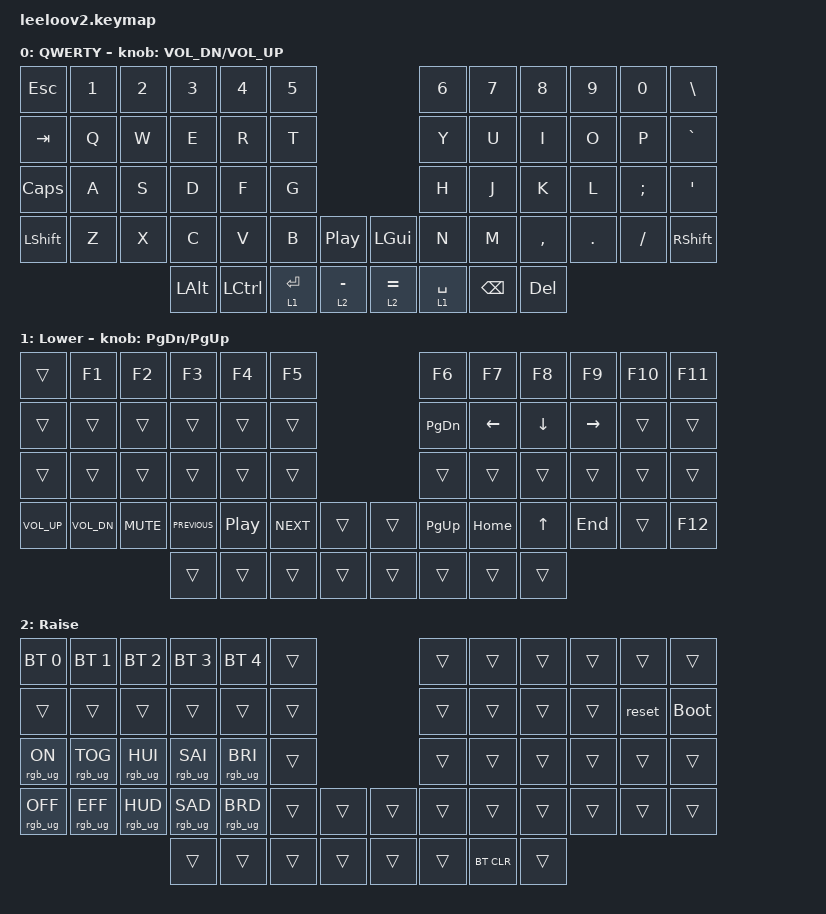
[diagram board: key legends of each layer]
/*
 * Copyright (c) 2022 The ZMK Contributors
 * SPDX-License-Identifier: MIT
 */

#include <behaviors.dtsi>
#include <dt-bindings/zmk/outputs.h>
#include <dt-bindings/zmk/keys.h>
#include <dt-bindings/zmk/bt.h>
#include <dt-bindings/zmk/rgb.h>

// Layers
#define DEFAULT    0       // default_layer
#define LOWER      1       // lower_layer
#define RAISE      2       // raise_layer

// Short versions
#define RGBON   &rgb_ug RGB_ON
#define RGBOFF  &rgb_ug RGB_OFF
#define RGBTOG  &rgb_ug RGB_TOG
#define RGBHUI  &rgb_ug RGB_HUI
#define RGBHUD  &rgb_ug RGB_HUD
#define RGBSAI  &rgb_ug RGB_SAI
#define RGBSAD  &rgb_ug RGB_SAD
#define RGBBRI  &rgb_ug RGB_BRI
#define RGBBRD  &rgb_ug RGB_BRD
#define RGBEFF  &rgb_ug RGB_EFF
#define VOLUP   &kp C_VOLUME_UP
#define VOLDN   &kp C_VOL_DN
#define MUTE    &kp C_MUTE
#define PP      &kp C_PLAY_PAUSE
#define NEXT    &kp C_NEXT
#define PREV    &kp C_PREVIOUS


/* 
 * Assign the cs-gpios pin to 4.
 * Uncomment these next three lines if implementing nice!view Displays
 */
&nice_view_spi {
   cs-gpios = <&pro_micro 4 GPIO_ACTIVE_HIGH>;
};


/ {

    keymap {
        compatible = "zmk,keymap";

        default_layer {
            label = " QWERTY";
            bindings = <
&kp ESC    &kp N1     &kp N2     &kp N3     &kp N4     &kp N5                           &kp N6     &kp N7     &kp N8     &kp N9     &kp N0     &kp BSLH
&kp TAB    &kp Q      &kp W      &kp E      &kp R      &kp T                            &kp Y      &kp U      &kp I      &kp O      &kp P      &kp GRAV
&kp CAPS   &kp A      &kp S      &kp D      &kp F      &kp G                            &kp H      &kp J      &kp K      &kp L      &kp SEMI   &kp SQT
&kp LSHFT  &kp Z      &kp X      &kp C      &kp V      &kp B     PP          &kp LGUI   &kp N      &kp M      &kp COMMA  &kp DOT    &kp FSLH   &kp RSHFT
                             &kp LALT   &kp LCTRL  &lt 1 RET  &lt 2 MINUS    &lt 2 EQUAL  &lt 1 SPACE  &kp BSPC   &kp DEL
            >;

             sensor-bindings = <&inc_dec_kp C_VOL_DN C_VOL_UP>;
        };

        lower_layer {
            label = " Lower";
            bindings = <
&trans     &kp F1     &kp F2     &kp F3     &kp F4     &kp F5                           &kp F6     &kp F7     &kp F8     &kp F9     &kp F10    &kp F11
&trans     &trans     &trans     &trans     &trans     &trans                           &kp PG_DN  &kp LEFT   &kp DOWN   &kp RIGHT  &trans     &trans
&trans     &trans     &trans     &trans     &trans     &trans                           &trans     &trans     &trans     &trans     &trans     &trans
VOLUP      VOLDN      MUTE       PREV       PP         NEXT       &trans     &trans     &kp PG_UP  &kp HOME   &kp UP     &kp END    &trans     &kp F12
                                 &trans     &trans     &trans     &trans     &trans     &trans     &trans     &trans
            >;

             sensor-bindings = <&inc_dec_kp PG_DN PG_UP>;
        };

        raise_layer {
            label = " Raise";
            bindings = <
&bt BT_SEL 0  &bt BT_SEL 1  &bt BT_SEL 2  &bt BT_SEL 3  &bt BT_SEL 4  &trans                           &trans        &trans        &trans        &trans        &trans        &trans
&trans        &trans        &trans        &trans        &trans        &trans                           &trans        &trans        &trans        &trans        &reset        &bootloader
RGBON         RGBTOG        RGBHUI        RGBSAI        RGBBRI        &trans                           &trans        &trans        &trans        &trans        &trans        &trans
RGBOFF        RGBEFF        RGBHUD        RGBSAD        RGBBRD        &trans     &trans     &trans     &trans        &trans        &trans        &trans        &trans        &trans
                                          &trans        &trans        &trans     &trans     &trans     &trans        &bt BT_CLR    &trans
            >;

//             sensor-bindings = <&inc_dec_kp C_VOL_UP C_VOL_DN>;
        };

    };
};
